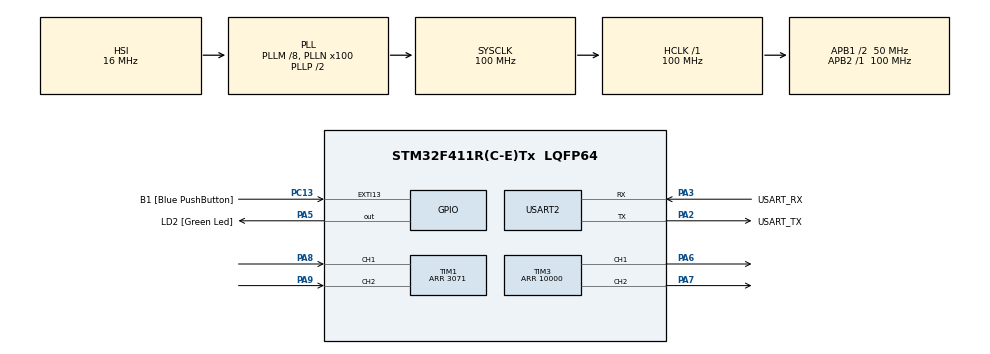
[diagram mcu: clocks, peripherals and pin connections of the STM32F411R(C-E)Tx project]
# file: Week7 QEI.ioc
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Mcu.Family=STM32F4
PC15-OSC32_OUT.Mode=LSE-External-Oscillator
RCC.CortexFreq_Value=100000000
PC13-ANTI_TAMP.GPIO_Label=B1 [Blue PushButton]
PA14.GPIO_Label=TCK
PH1\ -\ OSC_OUT.Mode=HSE-External-Clock-Source
TIM1.EncoderMode=TIM_ENCODERMODE_TI12
RCC.APB1CLKDivider=RCC_HCLK_DIV2
PC14-OSC32_IN.Signal=RCC_OSC32_IN
RCC.SYSCLKSource=RCC_SYSCLKSOURCE_PLLCLK
ProjectManager.StackSize=0x400
PA13.Signal=SYS_JTMS-SWDIO
PA3.Mode=Asynchronous
PH0\ -\ OSC_IN.Mode=HSE-External-Clock-Source
SH.S_TIM1_CH1.0=TIM1_CH1,Encoder_Interface
PH0\ -\ OSC_IN.Signal=RCC_OSC_IN
ProjectManager.TargetToolchain=STM32CubeIDE
RCC.HCLKFreq_Value=100000000
RCC.APB2TimFreq_Value=100000000
TIM3.Period=10000
PA9.Signal=S_TIM1_CH2
PC15-OSC32_OUT.Signal=RCC_OSC32_OUT
RCC.AHBFreq_Value=100000000
TIM3.Channel-PWM\ Generation1\ CH1=TIM_CHANNEL_1
PA5.Signal=GPIO_Output
SH.S_TIM3_CH2.0=TIM3_CH2,PWM Generation2 CH2
NVIC.TIM1_TRG_COM_TIM11_IRQn=true\:0\:0\:false\:false\:true\:true\:true
RCC.HSE_VALUE=8000000
PH1\ -\ OSC_OUT.Signal=RCC_OSC_OUT
board=NUCLEO-F411RE
PC13-ANTI_TAMP.Signal=GPXTI13
RCC.VCOOutputFreq_Value=200000000
RCC.APB2Freq_Value=100000000
PC14-OSC32_IN.Mode=LSE-External-Oscillator
SH.S_TIM1_CH2.0=TIM1_CH2,Encoder_Interface
VP_TIM2_VS_ClockSourceINT.Mode=Internal
PA14.Mode=Serial_Wire
NVIC.TIM2_IRQn=true\:0\:0\:false\:false\:true\:true\:true
PA8.Signal=S_TIM1_CH1
SH.S_TIM3_CH1.0=TIM3_CH1,PWM Generation1 CH1
PA13.Mode=Serial_Wire
Mcu.Name=STM32F411R(C-E)Tx
PA2.Signal=USART2_TX
PA13.GPIO_Label=TMS
RCC.FLatency-AdvancedSettings=FLASH_LATENCY_3
RCC.48MHZClocksFreq_Value=50000000
PB3.Signal=SYS_JTDO-SWO
RCC.SYSCLKFreq_VALUE=100000000
Mcu.Package=LQFP64
TIM2.Prescaler=99
PA6.Signal=S_TIM3_CH1
PA5.GPIO_Label=LD2 [Green Led]
USART2.VirtualMode=VM_ASYNC
PC13-ANTI_TAMP.GPIO_ModeDefaultEXTI=GPIO_MODE_IT_FALLING
PA2.GPIO_Label=USART_TX
PA14.Signal=SYS_JTCK-SWCLK
ProjectManager.HeapSize=0x200
RCC.HSI_VALUE=16000000
NVIC.PriorityGroup=NVIC_PRIORITYGROUP_0
TIM3.Channel-PWM\ Generation2\ CH2=TIM_CHANNEL_2
RCC.PLLM=8
RCC.PLLN=100
RCC.APB1TimFreq_Value=100000000
PA2.Mode=Asynchronous
TIM1.Period=3071
RCC.APB1Freq_Value=50000000
PA3.GPIO_Label=USART_RX
PA3.Signal=USART2_RX
PA7.Signal=S_TIM3_CH2
PB3.GPIO_Label=SWO

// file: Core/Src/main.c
/* USER CODE BEGIN Header */
/**
 ******************************************************************************
 * @file           : main.c
 * @brief          : Main program body
 ******************************************************************************
 * @attention
 *
 * <h2><center>&copy; Copyright (c) 2021 STMicroelectronics.
 * All rights reserved.</center></h2>
 *
 * This software component is licensed by ST under BSD 3-Clause license,
 * the "License"; You may not use this file except in compliance with the
 * License. You may obtain a copy of the License at:
 *                        opensource.org/licenses/BSD-3-Clause
 *
 ******************************************************************************
 */
/* USER CODE END Header */
#include "main.h"

TIM_HandleTypeDef htim1;
TIM_HandleTypeDef htim2;
TIM_HandleTypeDef htim3;

UART_HandleTypeDef huart2;

/* USER CODE BEGIN PV */
uint64_t _micros = 0;
float EncoderVel = 0;
float EncoderRPM =0;
uint64_t Timestamp_Encoder = 0;
float setvel = 15 ;
float error = 0 ;
float VADC = 0 ;
float Kp=0;
float sumerror=0;
float Ki=0;
float Kd=0;
float PWMOut = 0;
uint64_t Timestamp2=0;
uint64_t Timestamp3=0;
float errorbefore =0;
/* USER CODE END PV */

void SystemClock_Config(void);
static void MX_GPIO_Init(void);
static void MX_USART2_UART_Init(void);
static void MX_TIM1_Init(void);
static void MX_TIM2_Init(void);
static void MX_TIM3_Init(void);
/* USER CODE BEGIN PFP */
uint64_t micros();
float EncoderVelocity_Update();
/* USER CODE END PFP */

int main(void)
{

  /* MCU Configuration--------------------------------------------------------*/

  /* Reset of all peripherals, Initializes the Flash interface and the Systick. */
  HAL_Init();

  /* Configure the system clock */
  SystemClock_Config();

  /* Initialize all configured peripherals */
  MX_GPIO_Init();
  MX_USART2_UART_Init();
  MX_TIM1_Init();
  MX_TIM2_Init();
  MX_TIM3_Init();
  /* USER CODE BEGIN 2 */
	HAL_TIM_Base_Start_IT(&htim2);
	HAL_TIM_Encoder_Start(&htim1, TIM_CHANNEL_ALL);
	HAL_TIM_Base_Start(&htim3);
	HAL_TIM_PWM_Start(&htim3, TIM_CHANNEL_1);
	HAL_TIM_PWM_Start(&htim3, TIM_CHANNEL_2);
  /* USER CODE END 2 */

  /* Infinite loop */
	while (1)
	{

    /* USER CODE BEGIN 3 */
		//Add LPF?
		if (micros() - Timestamp_Encoder >= 100)
		{
			Timestamp_Encoder = micros();
			EncoderVel = (EncoderVel * 99 + EncoderVelocity_Update()) / 100.0;
			EncoderRPM = (EncoderVel*60)/3072;
		}
		if(micros()-Timestamp2 >= 1000)
		{
			Timestamp2=micros();
			error = setvel - EncoderRPM ;
			sumerror= (sumerror+error)*0.001;
			PWMOut =(Kp * error)+(Ki*sumerror)+(Kd*(error-errorbefore)/0.001);
            errorbefore=error;
		}
		if(micros()-Timestamp3 >= 1000)
		{
			Timestamp3=micros();
		if(setvel>0)
		{
			__HAL_TIM_SET_COMPARE(&htim3, TIM_CHANNEL_1, PWMOut);
			__HAL_TIM_SET_COMPARE(&htim3, TIM_CHANNEL_2, 0);
		}
		else
		{
			__HAL_TIM_SET_COMPARE(&htim3, TIM_CHANNEL_1, 0);
			__HAL_TIM_SET_COMPARE(&htim3, TIM_CHANNEL_2, -PWMOut);
		}
		}

	}
  /* USER CODE END 3 */
}

void SystemClock_Config(void)
{
  RCC_OscInitTypeDef RCC_OscInitStruct = {0};
  RCC_ClkInitTypeDef RCC_ClkInitStruct = {0};

  /** Configure the main internal regulator output voltage
  */
  __HAL_RCC_PWR_CLK_ENABLE();
  __HAL_PWR_VOLTAGESCALING_CONFIG(PWR_REGULATOR_VOLTAGE_SCALE1);
  /** Initializes the RCC Oscillators according to the specified parameters
  * in the RCC_OscInitTypeDef structure.
  */
  RCC_OscInitStruct.OscillatorType = RCC_OSCILLATORTYPE_HSI;
  RCC_OscInitStruct.HSIState = RCC_HSI_ON;
  RCC_OscInitStruct.HSICalibrationValue = RCC_HSICALIBRATION_DEFAULT;
  RCC_OscInitStruct.PLL.PLLState = RCC_PLL_ON;
  RCC_OscInitStruct.PLL.PLLSource = RCC_PLLSOURCE_HSI;
  RCC_OscInitStruct.PLL.PLLM = 8;
  RCC_OscInitStruct.PLL.PLLN = 100;
  RCC_OscInitStruct.PLL.PLLP = RCC_PLLP_DIV2;
  RCC_OscInitStruct.PLL.PLLQ = 4;
  if (HAL_RCC_OscConfig(&RCC_OscInitStruct) != HAL_OK)
  {
    Error_Handler();
  }
  /** Initializes the CPU, AHB and APB buses clocks
  */
  RCC_ClkInitStruct.ClockType = RCC_CLOCKTYPE_HCLK|RCC_CLOCKTYPE_SYSCLK
                              |RCC_CLOCKTYPE_PCLK1|RCC_CLOCKTYPE_PCLK2;
  RCC_ClkInitStruct.SYSCLKSource = RCC_SYSCLKSOURCE_PLLCLK;
  RCC_ClkInitStruct.AHBCLKDivider = RCC_SYSCLK_DIV1;
  RCC_ClkInitStruct.APB1CLKDivider = RCC_HCLK_DIV2;
  RCC_ClkInitStruct.APB2CLKDivider = RCC_HCLK_DIV1;

  if (HAL_RCC_ClockConfig(&RCC_ClkInitStruct, FLASH_LATENCY_3) != HAL_OK)
  {
    Error_Handler();
  }
}

static void MX_TIM1_Init(void)
{

  TIM_Encoder_InitTypeDef sConfig = {0};
  TIM_MasterConfigTypeDef sMasterConfig = {0};

  htim1.Instance = TIM1;
  htim1.Init.Prescaler = 0;
  htim1.Init.CounterMode = TIM_COUNTERMODE_UP;
  htim1.Init.Period = 3071;
  htim1.Init.ClockDivision = TIM_CLOCKDIVISION_DIV1;
  htim1.Init.RepetitionCounter = 0;
  htim1.Init.AutoReloadPreload = TIM_AUTORELOAD_PRELOAD_DISABLE;
  sConfig.EncoderMode = TIM_ENCODERMODE_TI12;
  sConfig.IC1Polarity = TIM_ICPOLARITY_RISING;
  sConfig.IC1Selection = TIM_ICSELECTION_DIRECTTI;
  sConfig.IC1Prescaler = TIM_ICPSC_DIV1;
  sConfig.IC1Filter = 0;
  sConfig.IC2Polarity = TIM_ICPOLARITY_RISING;
  sConfig.IC2Selection = TIM_ICSELECTION_DIRECTTI;
  sConfig.IC2Prescaler = TIM_ICPSC_DIV1;
  sConfig.IC2Filter = 0;
  if (HAL_TIM_Encoder_Init(&htim1, &sConfig) != HAL_OK)
  {
    Error_Handler();
  }
  sMasterConfig.MasterOutputTrigger = TIM_TRGO_RESET;
  sMasterConfig.MasterSlaveMode = TIM_MASTERSLAVEMODE_DISABLE;
  if (HAL_TIMEx_MasterConfigSynchronization(&htim1, &sMasterConfig) != HAL_OK)
  {
    Error_Handler();
  }

}

static void MX_TIM2_Init(void)
{

  TIM_ClockConfigTypeDef sClockSourceConfig = {0};
  TIM_MasterConfigTypeDef sMasterConfig = {0};

  htim2.Instance = TIM2;
  htim2.Init.Prescaler = 99;
  htim2.Init.CounterMode = TIM_COUNTERMODE_UP;
  htim2.Init.Period = 4294967295;
  htim2.Init.ClockDivision = TIM_CLOCKDIVISION_DIV1;
  htim2.Init.AutoReloadPreload = TIM_AUTORELOAD_PRELOAD_DISABLE;
  if (HAL_TIM_Base_Init(&htim2) != HAL_OK)
  {
    Error_Handler();
  }
  sClockSourceConfig.ClockSource = TIM_CLOCKSOURCE_INTERNAL;
  if (HAL_TIM_ConfigClockSource(&htim2, &sClockSourceConfig) != HAL_OK)
  {
    Error_Handler();
  }
  sMasterConfig.MasterOutputTrigger = TIM_TRGO_RESET;
  sMasterConfig.MasterSlaveMode = TIM_MASTERSLAVEMODE_DISABLE;
  if (HAL_TIMEx_MasterConfigSynchronization(&htim2, &sMasterConfig) != HAL_OK)
  {
    Error_Handler();
  }

}

static void MX_TIM3_Init(void)
{

  TIM_MasterConfigTypeDef sMasterConfig = {0};
  TIM_OC_InitTypeDef sConfigOC = {0};

  htim3.Instance = TIM3;
  htim3.Init.Prescaler = 0;
  htim3.Init.CounterMode = TIM_COUNTERMODE_UP;
  htim3.Init.Period = 10000;
  htim3.Init.ClockDivision = TIM_CLOCKDIVISION_DIV1;
  htim3.Init.AutoReloadPreload = TIM_AUTORELOAD_PRELOAD_DISABLE;
  if (HAL_TIM_PWM_Init(&htim3) != HAL_OK)
  {
    Error_Handler();
  }
  sMasterConfig.MasterOutputTrigger = TIM_TRGO_RESET;
  sMasterConfig.MasterSlaveMode = TIM_MASTERSLAVEMODE_DISABLE;
  if (HAL_TIMEx_MasterConfigSynchronization(&htim3, &sMasterConfig) != HAL_OK)
  {
    Error_Handler();
  }
  sConfigOC.OCMode = TIM_OCMODE_PWM1;
  sConfigOC.Pulse = 0;
  sConfigOC.OCPolarity = TIM_OCPOLARITY_HIGH;
  sConfigOC.OCFastMode = TIM_OCFAST_DISABLE;
  if (HAL_TIM_PWM_ConfigChannel(&htim3, &sConfigOC, TIM_CHANNEL_1) != HAL_OK)
  {
    Error_Handler();
  }
  if (HAL_TIM_PWM_ConfigChannel(&htim3, &sConfigOC, TIM_CHANNEL_2) != HAL_OK)
  {
    Error_Handler();
  }
  HAL_TIM_MspPostInit(&htim3);

}

static void MX_USART2_UART_Init(void)
{

  huart2.Instance = USART2;
  huart2.Init.BaudRate = 115200;
  huart2.Init.WordLength = UART_WORDLENGTH_8B;
  huart2.Init.StopBits = UART_STOPBITS_1;
  huart2.Init.Parity = UART_PARITY_NONE;
  huart2.Init.Mode = UART_MODE_TX_RX;
  huart2.Init.HwFlowCtl = UART_HWCONTROL_NONE;
  huart2.Init.OverSampling = UART_OVERSAMPLING_16;
  if (HAL_UART_Init(&huart2) != HAL_OK)
  {
    Error_Handler();
  }

}

static void MX_GPIO_Init(void)
{
  GPIO_InitTypeDef GPIO_InitStruct = {0};

  /* GPIO Ports Clock Enable */
  __HAL_RCC_GPIOC_CLK_ENABLE();
  __HAL_RCC_GPIOH_CLK_ENABLE();
  __HAL_RCC_GPIOA_CLK_ENABLE();
  __HAL_RCC_GPIOB_CLK_ENABLE();

  /*Configure GPIO pin Output Level */
  HAL_GPIO_WritePin(LD2_GPIO_Port, LD2_Pin, GPIO_PIN_RESET);

  /*Configure GPIO pin : B1_Pin */
  GPIO_InitStruct.Pin = B1_Pin;
  GPIO_InitStruct.Mode = GPIO_MODE_IT_FALLING;
  GPIO_InitStruct.Pull = GPIO_NOPULL;
  HAL_GPIO_Init(B1_GPIO_Port, &GPIO_InitStruct);

  /*Configure GPIO pin : LD2_Pin */
  GPIO_InitStruct.Pin = LD2_Pin;
  GPIO_InitStruct.Mode = GPIO_MODE_OUTPUT_PP;
  GPIO_InitStruct.Pull = GPIO_NOPULL;
  GPIO_InitStruct.Speed = GPIO_SPEED_FREQ_LOW;
  HAL_GPIO_Init(LD2_GPIO_Port, &GPIO_InitStruct);

}

/* USER CODE BEGIN 4 */
#define  HTIM_ENCODER htim1
#define  MAX_SUBPOSITION_OVERFLOW 1536
#define  MAX_ENCODER_PERIOD 3072

float EncoderVelocity_Update()
{
	//Save Last state
	static uint32_t EncoderLastPosition = 0;
	static uint64_t EncoderLastTimestamp = 0;

	//read data
	uint32_t EncoderNowPosition = HTIM_ENCODER.Instance->CNT;
	uint64_t EncoderNowTimestamp = micros();

	int32_t EncoderPositionDiff;
	uint64_t EncoderTimeDiff;

	EncoderTimeDiff = EncoderNowTimestamp - EncoderLastTimestamp;
	EncoderPositionDiff = EncoderNowPosition - EncoderLastPosition;

	//compensate overflow and underflow
	if (EncoderPositionDiff >= MAX_SUBPOSITION_OVERFLOW)
	{
		EncoderPositionDiff -= MAX_ENCODER_PERIOD;
	}
	else if (-EncoderPositionDiff >= MAX_SUBPOSITION_OVERFLOW)
	{
		EncoderPositionDiff += MAX_ENCODER_PERIOD;
	}

	//Update Position and time
	EncoderLastPosition = EncoderNowPosition;
	EncoderLastTimestamp = EncoderNowTimestamp;

	//Calculate velocity
	//EncoderTimeDiff is in uS
	return (EncoderPositionDiff * 1000000) / (float) EncoderTimeDiff;

}

void HAL_TIM_PeriodElapsedCallback(TIM_HandleTypeDef *htim)
{
	if (htim == &htim2)
	{
		_micros += 4294967295;
	}
}
uint64_t micros()
{
	return _micros + htim2.Instance->CNT;
}
/* USER CODE END 4 */

void Error_Handler(void)
{
	__disable_irq();
	while (1)
	{
	}
}

/************************ (C) COPYRIGHT STMicroelectronics *****END OF FILE****/
